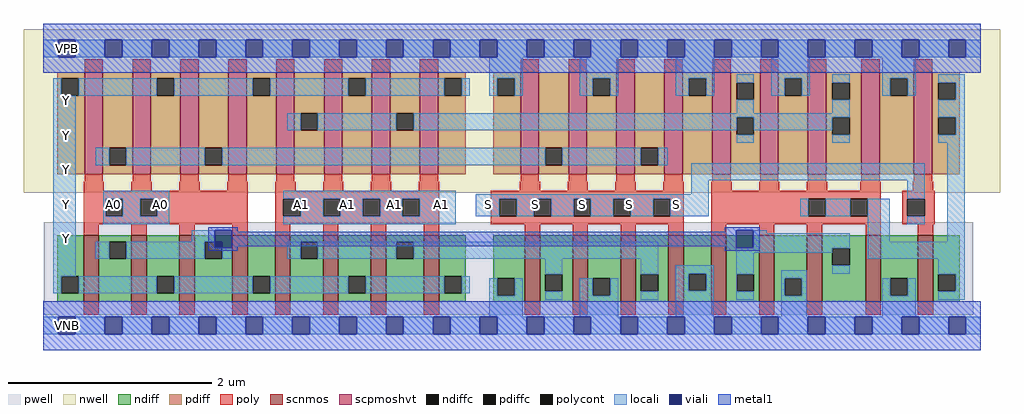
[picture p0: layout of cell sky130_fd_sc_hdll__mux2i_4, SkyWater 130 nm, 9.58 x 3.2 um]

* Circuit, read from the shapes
.subckt sky130_fd_sc_hdll__mux2i_4 A0 A1 S VGND VNB VPB VPWR Y
XM1 n1 A0 Y VNB sky130_fd_pr__nfet_01v8 w=0.65 l=0.15 m=4
XM2 n2 A1 Y VNB sky130_fd_pr__nfet_01v8 w=0.65 l=0.15 m=4
XM3 n2 S VGND VNB sky130_fd_pr__nfet_01v8 w=0.65 l=0.15 m=4
XM4 n1 n3 VGND VNB sky130_fd_pr__nfet_01v8 w=0.65 l=0.15 m=4
XM5 n3 S VGND VNB sky130_fd_pr__nfet_01v8 w=0.65 l=0.15
XM6 n4 A0 Y VPB sky130_fd_pr__pfet_01v8_hvt w=1 l=0.18 m=4
XM7 n5 A1 Y VPB sky130_fd_pr__pfet_01v8_hvt w=1 l=0.18 m=4
XM8 n4 S VPWR VPB sky130_fd_pr__pfet_01v8_hvt w=1 l=0.18 m=4
XM9 n5 n3 VPWR VPB sky130_fd_pr__pfet_01v8_hvt w=1 l=0.18 m=4
XM10 n3 S VPWR VPB sky130_fd_pr__pfet_01v8_hvt w=1 l=0.18
.ends

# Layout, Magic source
magic
tech sky130A
magscale 1 2
<< nwell >>
rect -38 261 1878 582
<< pwell >>
rect 1 21 1825 203
rect 30 -17 64 21
<< scnmos >>
rect 79 47 109 177
rect 173 47 203 177
rect 267 47 297 177
rect 371 47 401 177
rect 455 47 485 177
rect 549 47 579 177
rect 643 47 673 177
rect 747 47 777 177
rect 945 47 975 177
rect 1039 47 1069 177
rect 1133 47 1163 177
rect 1227 47 1257 177
rect 1311 47 1341 177
rect 1405 47 1435 177
rect 1499 47 1529 177
rect 1614 47 1644 177
rect 1717 47 1747 177
<< scpmoshvt >>
rect 81 297 117 497
rect 175 297 211 497
rect 269 297 305 497
rect 363 297 399 497
rect 457 297 493 497
rect 551 297 587 497
rect 645 297 681 497
rect 739 297 775 497
rect 937 297 973 497
rect 1031 297 1067 497
rect 1125 297 1161 497
rect 1219 297 1255 497
rect 1313 297 1349 497
rect 1407 297 1443 497
rect 1501 297 1537 497
rect 1606 297 1642 497
rect 1709 297 1745 497
<< ndiff >>
rect 27 97 79 177
rect 27 63 35 97
rect 69 63 79 97
rect 27 47 79 63
rect 109 165 173 177
rect 109 131 129 165
rect 163 131 173 165
rect 109 47 173 131
rect 203 97 267 177
rect 203 63 223 97
rect 257 63 267 97
rect 203 47 267 63
rect 297 165 371 177
rect 297 131 317 165
rect 351 131 371 165
rect 297 47 371 131
rect 401 97 455 177
rect 401 63 411 97
rect 445 63 455 97
rect 401 47 455 63
rect 485 165 549 177
rect 485 131 505 165
rect 539 131 549 165
rect 485 47 549 131
rect 579 97 643 177
rect 579 63 599 97
rect 633 63 643 97
rect 579 47 643 63
rect 673 165 747 177
rect 673 131 693 165
rect 727 131 747 165
rect 673 47 747 131
rect 777 97 829 177
rect 777 63 787 97
rect 821 63 829 97
rect 777 47 829 63
rect 883 93 945 177
rect 883 59 891 93
rect 925 59 945 93
rect 883 47 945 59
rect 975 101 1039 177
rect 975 67 985 101
rect 1019 67 1039 101
rect 975 47 1039 67
rect 1069 93 1133 177
rect 1069 59 1079 93
rect 1113 59 1133 93
rect 1069 47 1133 59
rect 1163 101 1227 177
rect 1163 67 1173 101
rect 1207 67 1227 101
rect 1163 47 1227 67
rect 1257 102 1311 177
rect 1257 68 1267 102
rect 1301 68 1311 102
rect 1257 47 1311 68
rect 1341 101 1405 177
rect 1341 67 1361 101
rect 1395 67 1405 101
rect 1341 47 1405 67
rect 1435 93 1499 177
rect 1435 59 1455 93
rect 1489 59 1499 93
rect 1435 47 1499 59
rect 1529 152 1614 177
rect 1529 118 1549 152
rect 1583 118 1614 152
rect 1529 47 1614 118
rect 1644 93 1717 177
rect 1644 59 1663 93
rect 1697 59 1717 93
rect 1644 47 1717 59
rect 1747 101 1799 177
rect 1747 67 1757 101
rect 1791 67 1799 101
rect 1747 47 1799 67
<< pdiff >>
rect 27 485 81 497
rect 27 451 35 485
rect 69 451 81 485
rect 27 297 81 451
rect 117 349 175 497
rect 117 315 129 349
rect 163 315 175 349
rect 117 297 175 315
rect 211 485 269 497
rect 211 451 223 485
rect 257 451 269 485
rect 211 297 269 451
rect 305 349 363 497
rect 305 315 317 349
rect 351 315 363 349
rect 305 297 363 315
rect 399 485 457 497
rect 399 451 411 485
rect 445 451 457 485
rect 399 297 457 451
rect 493 417 551 497
rect 493 383 505 417
rect 539 383 551 417
rect 493 297 551 383
rect 587 485 645 497
rect 587 451 599 485
rect 633 451 645 485
rect 587 297 645 451
rect 681 417 739 497
rect 681 383 693 417
rect 727 383 739 417
rect 681 297 739 383
rect 775 485 829 497
rect 775 451 787 485
rect 821 451 829 485
rect 775 297 829 451
rect 883 485 937 497
rect 883 451 891 485
rect 925 451 937 485
rect 883 297 937 451
rect 973 349 1031 497
rect 973 315 985 349
rect 1019 315 1031 349
rect 973 297 1031 315
rect 1067 485 1125 497
rect 1067 451 1079 485
rect 1113 451 1125 485
rect 1067 297 1125 451
rect 1161 349 1219 497
rect 1161 315 1173 349
rect 1207 315 1219 349
rect 1161 297 1219 315
rect 1255 485 1313 497
rect 1255 451 1267 485
rect 1301 451 1313 485
rect 1255 297 1313 451
rect 1349 477 1407 497
rect 1349 443 1361 477
rect 1395 443 1407 477
rect 1349 409 1407 443
rect 1349 375 1361 409
rect 1395 375 1407 409
rect 1349 297 1407 375
rect 1443 485 1501 497
rect 1443 451 1455 485
rect 1489 451 1501 485
rect 1443 297 1501 451
rect 1537 477 1606 497
rect 1537 443 1549 477
rect 1583 443 1606 477
rect 1537 409 1606 443
rect 1537 375 1549 409
rect 1583 375 1606 409
rect 1537 297 1606 375
rect 1642 485 1709 497
rect 1642 451 1663 485
rect 1697 451 1709 485
rect 1642 297 1709 451
rect 1745 477 1799 497
rect 1745 443 1757 477
rect 1791 443 1799 477
rect 1745 409 1799 443
rect 1745 375 1757 409
rect 1791 375 1799 409
rect 1745 297 1799 375
<< ndiffc >>
rect 35 63 69 97
rect 129 131 163 165
rect 223 63 257 97
rect 317 131 351 165
rect 411 63 445 97
rect 505 131 539 165
rect 599 63 633 97
rect 693 131 727 165
rect 787 63 821 97
rect 891 59 925 93
rect 985 67 1019 101
rect 1079 59 1113 93
rect 1173 67 1207 101
rect 1267 68 1301 102
rect 1361 67 1395 101
rect 1455 59 1489 93
rect 1549 118 1583 152
rect 1663 59 1697 93
rect 1757 67 1791 101
<< pdiffc >>
rect 35 451 69 485
rect 129 315 163 349
rect 223 451 257 485
rect 317 315 351 349
rect 411 451 445 485
rect 505 383 539 417
rect 599 451 633 485
rect 693 383 727 417
rect 787 451 821 485
rect 891 451 925 485
rect 985 315 1019 349
rect 1079 451 1113 485
rect 1173 315 1207 349
rect 1267 451 1301 485
rect 1361 443 1395 477
rect 1361 375 1395 409
rect 1455 451 1489 485
rect 1549 443 1583 477
rect 1549 375 1583 409
rect 1663 451 1697 485
rect 1757 443 1791 477
rect 1757 375 1791 409
<< poly >>
rect 81 497 117 523
rect 175 497 211 523
rect 269 497 305 523
rect 363 497 399 523
rect 457 497 493 523
rect 551 497 587 523
rect 645 497 681 523
rect 739 497 775 523
rect 937 497 973 523
rect 1031 497 1067 523
rect 1125 497 1161 523
rect 1219 497 1255 523
rect 1313 497 1349 523
rect 1407 497 1443 523
rect 1501 497 1537 523
rect 1606 497 1642 523
rect 1709 497 1745 523
rect 81 282 117 297
rect 175 282 211 297
rect 269 282 305 297
rect 363 282 399 297
rect 457 282 493 297
rect 551 282 587 297
rect 645 282 681 297
rect 739 282 775 297
rect 937 282 973 297
rect 1031 282 1067 297
rect 1125 282 1161 297
rect 1219 282 1255 297
rect 1313 282 1349 297
rect 1407 282 1443 297
rect 1501 282 1537 297
rect 1606 282 1642 297
rect 1709 282 1745 297
rect 79 265 119 282
rect 173 265 213 282
rect 267 265 307 282
rect 361 265 401 282
rect 79 249 401 265
rect 79 215 122 249
rect 156 215 190 249
rect 224 215 401 249
rect 79 199 401 215
rect 79 177 109 199
rect 173 177 203 199
rect 267 177 297 199
rect 371 177 401 199
rect 455 265 495 282
rect 549 265 589 282
rect 643 265 683 282
rect 737 265 777 282
rect 935 265 975 282
rect 1029 265 1069 282
rect 1123 265 1163 282
rect 1217 265 1257 282
rect 455 249 777 265
rect 455 215 471 249
rect 505 215 549 249
rect 583 215 627 249
rect 661 215 705 249
rect 739 215 777 249
rect 455 199 777 215
rect 878 249 1257 265
rect 878 215 895 249
rect 929 215 963 249
rect 997 215 1041 249
rect 1075 215 1119 249
rect 1153 215 1197 249
rect 1231 215 1257 249
rect 878 199 1257 215
rect 455 177 485 199
rect 549 177 579 199
rect 643 177 673 199
rect 747 177 777 199
rect 945 177 975 199
rect 1039 177 1069 199
rect 1133 177 1163 199
rect 1227 177 1257 199
rect 1311 265 1351 282
rect 1405 265 1445 282
rect 1499 265 1539 282
rect 1604 265 1644 282
rect 1707 265 1747 282
rect 1311 249 1644 265
rect 1311 215 1502 249
rect 1536 215 1584 249
rect 1618 215 1644 249
rect 1311 199 1644 215
rect 1686 249 1750 265
rect 1686 215 1696 249
rect 1730 215 1750 249
rect 1686 199 1750 215
rect 1311 177 1341 199
rect 1405 177 1435 199
rect 1499 177 1529 199
rect 1614 177 1644 199
rect 1717 177 1747 199
rect 79 21 109 47
rect 173 21 203 47
rect 267 21 297 47
rect 371 21 401 47
rect 455 21 485 47
rect 549 21 579 47
rect 643 21 673 47
rect 747 21 777 47
rect 945 21 975 47
rect 1039 21 1069 47
rect 1133 21 1163 47
rect 1227 21 1257 47
rect 1311 21 1341 47
rect 1405 21 1435 47
rect 1499 21 1529 47
rect 1614 21 1644 47
rect 1717 21 1747 47
<< polycont >>
rect 122 215 156 249
rect 190 215 224 249
rect 471 215 505 249
rect 549 215 583 249
rect 627 215 661 249
rect 705 215 739 249
rect 895 215 929 249
rect 963 215 997 249
rect 1041 215 1075 249
rect 1119 215 1153 249
rect 1197 215 1231 249
rect 1502 215 1536 249
rect 1584 215 1618 249
rect 1696 215 1730 249
<< locali >>
rect 0 527 29 561
rect 63 527 121 561
rect 155 527 213 561
rect 247 527 305 561
rect 339 527 397 561
rect 431 527 489 561
rect 523 527 581 561
rect 615 527 673 561
rect 707 527 765 561
rect 799 527 857 561
rect 891 527 949 561
rect 983 527 1041 561
rect 1075 527 1133 561
rect 1167 527 1225 561
rect 1259 527 1317 561
rect 1351 527 1409 561
rect 1443 527 1501 561
rect 1535 527 1593 561
rect 1627 527 1685 561
rect 1719 527 1777 561
rect 1811 527 1840 561
rect 875 485 941 527
rect 19 451 35 485
rect 69 451 223 485
rect 257 451 411 485
rect 445 451 599 485
rect 633 451 787 485
rect 821 451 837 485
rect 875 451 891 485
rect 925 451 941 485
rect 1053 485 1129 527
rect 1053 451 1079 485
rect 1113 451 1129 485
rect 1241 485 1317 527
rect 1241 451 1267 485
rect 1301 451 1317 485
rect 1361 477 1395 493
rect 19 97 64 451
rect 1429 485 1505 527
rect 1429 451 1455 485
rect 1489 451 1505 485
rect 1549 477 1583 493
rect 1361 417 1395 443
rect 1647 485 1713 527
rect 1647 451 1663 485
rect 1697 451 1713 485
rect 1757 477 1809 493
rect 1549 417 1583 443
rect 479 383 505 417
rect 539 383 693 417
rect 727 409 1583 417
rect 727 383 1361 409
rect 1395 383 1549 409
rect 1361 359 1395 375
rect 1549 359 1583 375
rect 1791 443 1809 477
rect 1757 409 1809 443
rect 1791 375 1809 409
rect 1757 359 1809 375
rect 103 315 129 349
rect 163 315 317 349
rect 351 315 985 349
rect 1019 315 1173 349
rect 1207 315 1226 349
rect 1272 285 1730 319
rect 118 249 247 265
rect 118 215 122 249
rect 156 215 190 249
rect 224 215 247 249
rect 118 199 247 215
rect 471 249 810 265
rect 1272 258 1306 285
rect 505 215 549 249
rect 583 215 627 249
rect 661 215 705 249
rect 739 215 810 249
rect 849 249 1306 258
rect 1696 249 1730 285
rect 849 215 895 249
rect 929 215 963 249
rect 997 215 1041 249
rect 1075 215 1119 249
rect 1153 215 1197 249
rect 1231 215 1306 249
rect 1486 215 1502 249
rect 1536 215 1584 249
rect 471 199 810 215
rect 291 165 336 187
rect 103 131 129 165
rect 163 131 317 165
rect 351 131 370 153
rect 479 131 505 165
rect 539 131 693 165
rect 727 131 1207 165
rect 985 101 1019 131
rect 19 63 35 97
rect 69 63 223 97
rect 257 63 411 97
rect 445 63 599 97
rect 633 63 787 97
rect 821 63 837 97
rect 875 59 891 93
rect 925 59 941 93
rect 875 17 941 59
rect 1173 101 1207 131
rect 1394 181 1420 187
rect 1394 153 1583 181
rect 1360 152 1583 153
rect 1360 143 1549 152
rect 985 51 1019 67
rect 1053 59 1079 93
rect 1113 59 1129 93
rect 1053 17 1129 59
rect 1173 51 1207 67
rect 1241 102 1316 118
rect 1241 68 1267 102
rect 1301 68 1316 102
rect 1241 17 1316 68
rect 1360 101 1395 143
rect 1618 165 1662 249
rect 1696 199 1730 215
rect 1774 165 1809 359
rect 1618 131 1809 165
rect 1360 67 1361 101
rect 1360 51 1395 67
rect 1449 93 1499 109
rect 1549 102 1583 118
rect 1757 101 1809 131
rect 1449 59 1455 93
rect 1489 59 1499 93
rect 1449 17 1499 59
rect 1647 59 1663 93
rect 1697 59 1713 93
rect 1647 17 1713 59
rect 1791 67 1809 101
rect 1757 51 1809 67
rect 0 -17 29 17
rect 63 -17 121 17
rect 155 -17 213 17
rect 247 -17 305 17
rect 339 -17 397 17
rect 431 -17 489 17
rect 523 -17 581 17
rect 615 -17 673 17
rect 707 -17 765 17
rect 799 -17 857 17
rect 891 -17 949 17
rect 983 -17 1041 17
rect 1075 -17 1133 17
rect 1167 -17 1225 17
rect 1259 -17 1317 17
rect 1351 -17 1409 17
rect 1443 -17 1501 17
rect 1535 -17 1593 17
rect 1627 -17 1685 17
rect 1719 -17 1777 17
rect 1811 -17 1840 17
<< viali >>
rect 29 527 63 561
rect 121 527 155 561
rect 213 527 247 561
rect 305 527 339 561
rect 397 527 431 561
rect 489 527 523 561
rect 581 527 615 561
rect 673 527 707 561
rect 765 527 799 561
rect 857 527 891 561
rect 949 527 983 561
rect 1041 527 1075 561
rect 1133 527 1167 561
rect 1225 527 1259 561
rect 1317 527 1351 561
rect 1409 527 1443 561
rect 1501 527 1535 561
rect 1593 527 1627 561
rect 1685 527 1719 561
rect 1777 527 1811 561
rect 336 165 370 187
rect 336 153 351 165
rect 351 153 370 165
rect 1360 153 1394 187
rect 29 -17 63 17
rect 121 -17 155 17
rect 213 -17 247 17
rect 305 -17 339 17
rect 397 -17 431 17
rect 489 -17 523 17
rect 581 -17 615 17
rect 673 -17 707 17
rect 765 -17 799 17
rect 857 -17 891 17
rect 949 -17 983 17
rect 1041 -17 1075 17
rect 1133 -17 1167 17
rect 1225 -17 1259 17
rect 1317 -17 1351 17
rect 1409 -17 1443 17
rect 1501 -17 1535 17
rect 1593 -17 1627 17
rect 1685 -17 1719 17
rect 1777 -17 1811 17
<< metal1 >>
rect 0 561 1840 592
rect 0 527 29 561
rect 63 527 121 561
rect 155 527 213 561
rect 247 527 305 561
rect 339 527 397 561
rect 431 527 489 561
rect 523 527 581 561
rect 615 527 673 561
rect 707 527 765 561
rect 799 527 857 561
rect 891 527 949 561
rect 983 527 1041 561
rect 1075 527 1133 561
rect 1167 527 1225 561
rect 1259 527 1317 561
rect 1351 527 1409 561
rect 1443 527 1501 561
rect 1535 527 1593 561
rect 1627 527 1685 561
rect 1719 527 1777 561
rect 1811 527 1840 561
rect 0 496 1840 527
rect 324 187 382 193
rect 324 153 336 187
rect 370 184 382 187
rect 1338 187 1406 193
rect 1338 184 1360 187
rect 370 156 1360 184
rect 370 153 382 156
rect 324 147 382 153
rect 1338 153 1360 156
rect 1394 153 1406 187
rect 1338 147 1406 153
rect 0 17 1840 48
rect 0 -17 29 17
rect 63 -17 121 17
rect 155 -17 213 17
rect 247 -17 305 17
rect 339 -17 397 17
rect 431 -17 489 17
rect 523 -17 581 17
rect 615 -17 673 17
rect 707 -17 765 17
rect 799 -17 857 17
rect 891 -17 949 17
rect 983 -17 1041 17
rect 1075 -17 1133 17
rect 1167 -17 1225 17
rect 1259 -17 1317 17
rect 1351 -17 1409 17
rect 1443 -17 1501 17
rect 1535 -17 1593 17
rect 1627 -17 1685 17
rect 1719 -17 1777 17
rect 1811 -17 1840 17
rect 0 -48 1840 -17
<< labels >>
flabel locali s 1041 221 1075 255 0 FreeSans 200 0 0 0 S
port 3 nsew signal input
flabel locali s 949 221 983 255 0 FreeSans 200 0 0 0 S
port 3 nsew signal input
flabel locali s 857 221 891 255 0 FreeSans 200 0 0 0 S
port 3 nsew signal input
flabel locali s 1225 221 1259 255 0 FreeSans 200 0 0 0 S
port 3 nsew signal input
flabel locali s 581 221 615 255 0 FreeSans 200 0 0 0 A1
port 2 nsew signal input
flabel locali s 489 221 523 255 0 FreeSans 200 0 0 0 A1
port 2 nsew signal input
flabel locali s 764 221 799 255 0 FreeSans 200 0 0 0 A1
port 2 nsew signal input
flabel locali s 1133 221 1167 255 0 FreeSans 200 0 0 0 S
port 3 nsew signal input
flabel locali s 213 221 247 255 0 FreeSans 200 0 0 0 A0
port 1 nsew signal input
flabel locali s 121 221 155 255 0 FreeSans 200 0 0 0 A0
port 1 nsew signal input
flabel locali s 29 425 63 459 0 FreeSans 200 0 0 0 Y
port 8 nsew signal output
flabel locali s 29 153 63 187 0 FreeSans 200 0 0 0 Y
port 8 nsew signal output
flabel locali s 29 289 63 323 0 FreeSans 200 0 0 0 Y
port 8 nsew signal output
flabel locali s 29 357 63 391 0 FreeSans 200 0 0 0 Y
port 8 nsew signal output
flabel locali s 29 221 63 255 0 FreeSans 200 0 0 0 Y
port 8 nsew signal output
flabel locali s 673 221 707 255 0 FreeSans 200 0 0 0 A1
port 2 nsew signal input
flabel pwell s 30 -17 64 17 0 FreeSans 200 0 0 0 VNB
port 5 nsew ground bidirectional
flabel nwell s 30 527 64 561 0 FreeSans 200 0 0 0 VPB
port 6 nsew power bidirectional
flabel metal1 s 30 -17 64 17 0 FreeSans 200 0 0 0 VGND
port 4 nsew ground bidirectional
flabel metal1 s 30 527 64 561 0 FreeSans 200 0 0 0 VPWR
port 7 nsew power bidirectional
rlabel comment s 0 0 0 0 4 mux2i_4
<< properties >>
string LEFsite unithd
string LEFclass CORE
string FIXED_BBOX 0 0 1840 544
string GDS_FILE $PDKPATH/libs.ref/sky130_fd_sc_hdll/gds/sky130_fd_sc_hdll.gds
string LEFsymmetry X Y R90
string GDS_END 2172184
string GDS_START 2159226
string LEFproperties maskLayoutSubType "abstract" prCellType "standard" originalViewName "layout"
<< end >>
